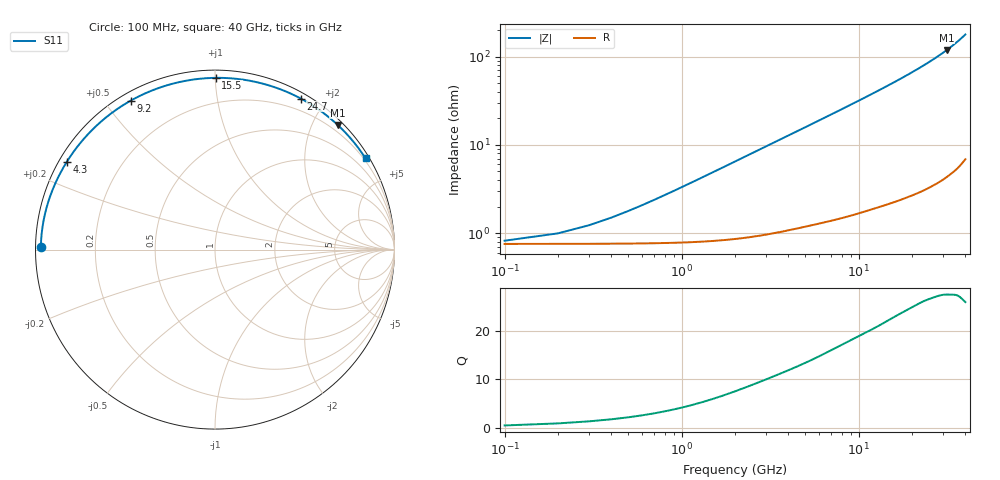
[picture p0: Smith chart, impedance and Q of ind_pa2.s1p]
#  Hz  S  RI  R  50
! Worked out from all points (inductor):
!   400 points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, 100 MHz to 40 GHz, reference 50 ohm
!   read as one part to ground: L = 513 pH near 800 MHz
!   highest Q = 27.6 at 31.4 GHz (marker M1), where L = 604 pH
!   S11 on the Smith chart (normalised r, x): 100 MHz: 0.02, +0.01; 4.3 GHz: 0.02, +0.27; 9.2 GHz: 0.03, +0.58; 15.5 GHz: 0.04, +1.00; 24.7 GHz: 0.06, +1.72; 40 GHz: 0.14, +3.58
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1e8  -0.9702 0.0125
1.1e9  -0.9595 0.1367
2.1e9  -0.932 0.256
3.2e9  -0.8856 0.3781
4.3e9  -0.8259 0.4886
5.1e9  -0.776 0.5613
6.1e9  -0.7074 0.643
7.1e9  -0.6337 0.7142
8.1e9  -0.5564 0.775
9.2e9  -0.4691 0.8302
1.01e10  -0.3973 0.8667
1.13e10  -0.3025 0.9043
1.25e10  -0.2102 0.9307
1.38e10  -0.1141 0.9484
1.51e10  -0.0229 0.9562
1.55e10  0.00407 0.9569
1.66e10  0.0755 0.9552
1.78e10  0.1487 0.948
2.01e10  0.2752 0.9222
2.24e10  0.3849 0.8852
2.47e10  0.4791 0.8409
2.51e10  0.4941 0.8327
2.75e10  0.5757 0.7817
3.01e10  0.6504 0.7242
3.14e10  0.683 0.6951
3.51e10  0.7614 0.613
3.75e10  0.8025 0.5607
4e10  0.8385 0.5078
